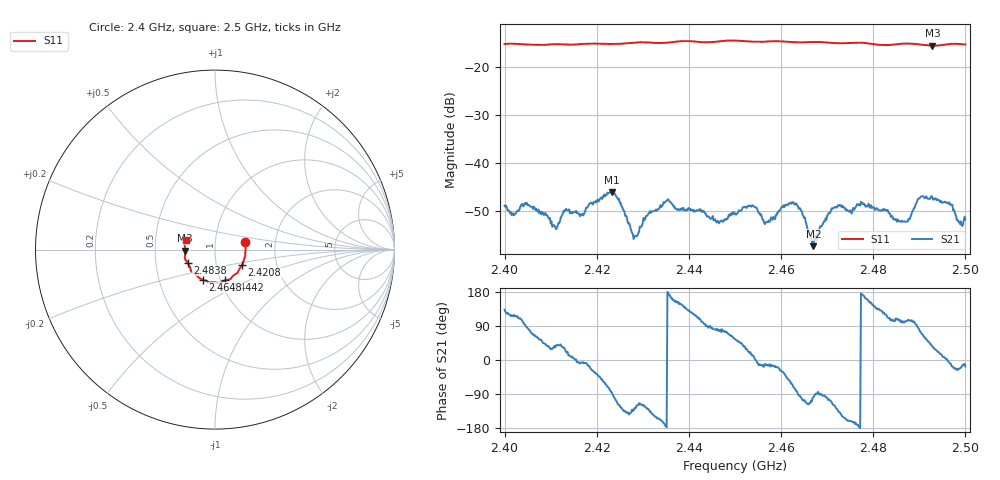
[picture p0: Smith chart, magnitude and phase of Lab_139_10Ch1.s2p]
# Hz S RI R 50
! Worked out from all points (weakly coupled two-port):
!   601 points, 2.4 GHz to 2.5 GHz, reference 50 ohm
!   highest |S21| = -46.03 dB at 2.4233 GHz (marker M1); lowest = -57.3 dB at 2.467 GHz (marker M2)
!   lowest |S11| = -15.6 dB at 2.4928 GHz (marker M3), VSWR 1.40, Z = 35.8 - j0.373 ohm
!   |S11| at or under -10 dB: start of sweep to end of sweep
!   S12 and S22 are empty: the file has one direction only
!   S11 on the Smith chart (normalised r, x): 2.4 GHz: 1.40, +0.12; 2.4208 GHz: 1.33, -0.24; 2.4442 GHz: 1.05, -0.37; 2.4648 GHz: 0.83, -0.29; 2.4838 GHz: 0.73, -0.11; 2.5 GHz: 0.72, +0.08
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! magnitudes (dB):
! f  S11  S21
! 2.4 GHz  -15.2  -48.9
! 2.4108 GHz  -15.3  -53.1
! 2.4133 GHz  -15.4  -49.5
! 2.4167 GHz  -15.2  -50.8
! 2.4208 GHz  -15.2  -47.3
! 2.4233 GHz  -15.2  -46.0
! 2.4283 GHz  -14.9  -55.2
! 2.4333 GHz  -15.0  -49.7
! 2.4442 GHz  -14.9  -51.1
! 2.45 GHz  -14.5  -50.5
! 2.4542 GHz  -14.8  -49.1
! 2.4568 GHz  -14.7  -52.3
! 2.4622 GHz  -14.8  -48.5
! 2.4648 GHz  -14.9  -51.1
! 2.4667 GHz  -14.8  -56.1
! 2.467 GHz  -14.8  -57.3
! 2.472 GHz  -15.1  -49.3
! 2.4833 GHz  -15.5  -50.4
! 2.4838 GHz  -15.4  -51.2
! 2.487 GHz  -15.2  -52.3
! 2.4928 GHz  -15.6  -47.2
! 2.5 GHz  -15.3  -51.8
